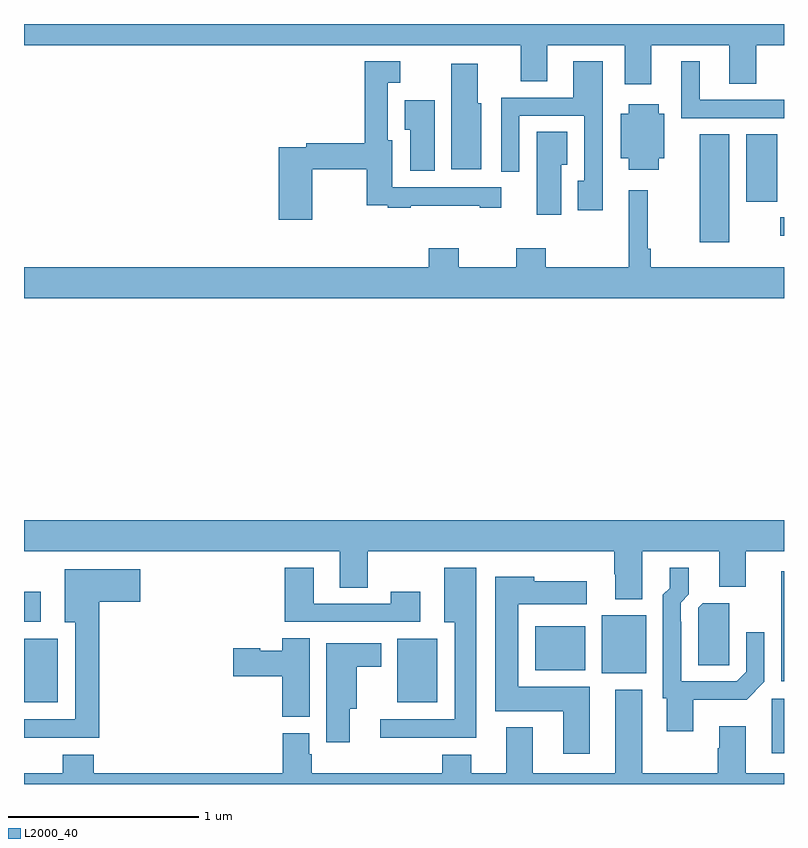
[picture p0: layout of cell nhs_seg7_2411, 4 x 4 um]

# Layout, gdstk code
import gdstk
lib = gdstk.Library(unit=1e-6, precision=1e-09)
def R(c, l, rs):  # rectangles x0, y0, x1, y1
    for r in rs: c.add(gdstk.rectangle(r[:2], r[2:], *l))
def P(c, l, *ps):  # polygons
    for p in ps: c.add(gdstk.Polygon(p, *l))
L2000_40 = (2000, 40)

nhs_seg7_2411 = lib.new_cell('nhs_seg7_2411')
R(nhs_seg7_2411, L2000_40, [(270.935,1058.163,271,1058.448), (267,1058.429,267.178,1058.764), (268.964,1058.429,269.176,1058.764), (270.986,1058.54,271,1059.121), (270.041,1058.582,270.274,1058.887), (269.69,1058.6,269.953,1058.83), (267,1058.853,267.088,1059.013), (270.557,1060.851,270.712,1061.42), (270.981,1060.886,271,1060.983), (270.8,1061.064,270.964,1061.42)])
P(nhs_seg7_2411, L2000_40, [(270.301,1061.888),(270.713,1061.888),(270.713,1061.686),(270.853,1061.686),(270.853,1061.888),(271,1061.888),(271,1062),(267,1062),(267,1061.888),(269.615,1061.888),(269.615,1061.698),(269.755,1061.698),(269.755,1061.888),(270.161,1061.888),(270.161,1061.682),(270.301,1061.682)],
  [(268.518,1061.236),(268.804,1061.236),(268.804,1061.046),(268.915,1061.046),(268.915,1061.034),(269.035,1061.034),(269.035,1061.044),(269.399,1061.044),(269.399,1061.034),(269.511,1061.034),(269.511,1061.142),(268.939,1061.142),(268.939,1061.388),(268.915,1061.388),(268.915,1061.69),(268.981,1061.69),(268.981,1061.803),(268.794,1061.803),(268.794,1061.372),(268.486,1061.372),(268.486,1061.352),(268.34,1061.352),(268.34,1060.971),(268.518,1060.971)],
  [(271,1061.601),(270.556,1061.601),(270.556,1061.803),(270.458,1061.803),(270.458,1061.505),(271,1061.505)],
  [(270.045,1061.803),(269.891,1061.803),(269.891,1061.613),(269.511,1061.613),(269.511,1061.223),(269.607,1061.223),(269.607,1061.517),(269.949,1061.517),(269.949,1061.175),(269.915,1061.175),(269.915,1061.019),(270.045,1061.019)],
  [(269.407,1061.583),(269.389,1061.583),(269.389,1061.791),(269.249,1061.791),(269.249,1061.235),(269.407,1061.235)],
  [(269.161,1061.599),(269.003,1061.599),(269.003,1061.443),(269.033,1061.443),(269.033,1061.227),(269.161,1061.227)],
  [(270.34,1061.294),(270.37,1061.294),(270.37,1061.527),(270.34,1061.527),(270.34,1061.578),(270.182,1061.578),(270.182,1061.527),(270.14,1061.527),(270.14,1061.294),(270.182,1061.294),(270.182,1061.234),(270.34,1061.234)],
  [(269.827,1061.258),(269.86,1061.258),(269.86,1061.432),(269.699,1061.432),(269.699,1060.995),(269.827,1060.995)],
  [(271,1060.72),(270.299,1060.72),(270.299,1060.816),(270.284,1060.816),(270.284,1061.125),(270.182,1061.125),(270.182,1060.72),(269.745,1060.72),(269.745,1060.819),(269.59,1060.819),(269.59,1060.72),(269.289,1060.72),(269.289,1060.819),(269.129,1060.819),(269.129,1060.72),(267,1060.72),(267,1060.556),(271,1060.556)],
  [(270.253,1059.224),(270.659,1059.224),(270.659,1059.037),(270.799,1059.037),(270.799,1059.224),(271,1059.224),(271,1059.388),(267,1059.388),(267,1059.224),(268.661,1059.224),(268.661,1059.034),(268.809,1059.034),(268.809,1059.224),(270.106,1059.224),(270.106,1059.104),(270.113,1059.104),(270.113,1058.972),(270.253,1058.972)],
  [(270.523,1058.444),(270.803,1058.444),(270.897,1058.538),(270.897,1058.8),(270.801,1058.8),(270.801,1058.592),(270.75,1058.541),(270.459,1058.541),(270.459,1058.855),(270.456,1058.855),(270.456,1058.955),(270.499,1058.998),(270.499,1059.139),(270.398,1059.139),(270.398,1059.03),(270.363,1058.995),(270.363,1058.451),(270.383,1058.451),(270.383,1058.277),(270.523,1058.277)],
  [(269.38,1059.139),(269.213,1059.139),(269.213,1058.852),(269.267,1058.852),(269.267,1058.34),(268.875,1058.34),(268.875,1058.243),(269.38,1058.243)],
  [(269.086,1059.013),(268.93,1059.013),(268.93,1058.949),(268.525,1058.949),(268.525,1059.139),(268.373,1059.139),(268.373,1058.853),(269.086,1058.853)],
  [(267.395,1058.96),(267.613,1058.96),(267.613,1059.13),(267.215,1059.13),(267.215,1058.852),(267.269,1058.852),(267.269,1058.34),(267,1058.34),(267,1058.243),(267.395,1058.243)],
  [(269.977,1058.512),(269.602,1058.512),(269.602,1058.945),(269.962,1058.945),(269.962,1059.067),(269.685,1059.067),(269.685,1059.091),(269.48,1059.091),(269.48,1058.384),(269.837,1058.384),(269.837,1058.16),(269.977,1058.16)],
  [(270.711,1058.737),(270.712,1058.737),(270.712,1058.952),(270.573,1058.952),(270.549,1058.928),(270.549,1058.626),(270.711,1058.626)],
  [(268.504,1058.768),(268.358,1058.768),(268.358,1058.701),(268.244,1058.701),(268.244,1058.714),(268.101,1058.714),(268.101,1058.567),(268.358,1058.567),(268.358,1058.353),(268.504,1058.353)],
  [(268.714,1058.396),(268.75,1058.396),(268.75,1058.618),(268.879,1058.618),(268.879,1058.74),(268.592,1058.74),(268.592,1058.22),(268.714,1058.22)],
  [(271,1058.056),(270.799,1058.056),(270.799,1058.305),(270.659,1058.305),(270.659,1058.189),(270.652,1058.189),(270.652,1058.056),(270.253,1058.056),(270.253,1058.497),(270.113,1058.497),(270.113,1058.056),(269.677,1058.056),(269.677,1058.299),(269.537,1058.299),(269.537,1058.056),(269.353,1058.056),(269.353,1058.155),(269.201,1058.155),(269.201,1058.056),(268.514,1058.056),(268.514,1058.157),(268.501,1058.157),(268.501,1058.268),(268.361,1058.268),(268.361,1058.056),(267.368,1058.056),(267.368,1058.155),(267.203,1058.155),(267.203,1058.056),(267,1058.056),(267,1058),(271,1058)])

lib.write_gds('nhs_seg7_2411.gds')
